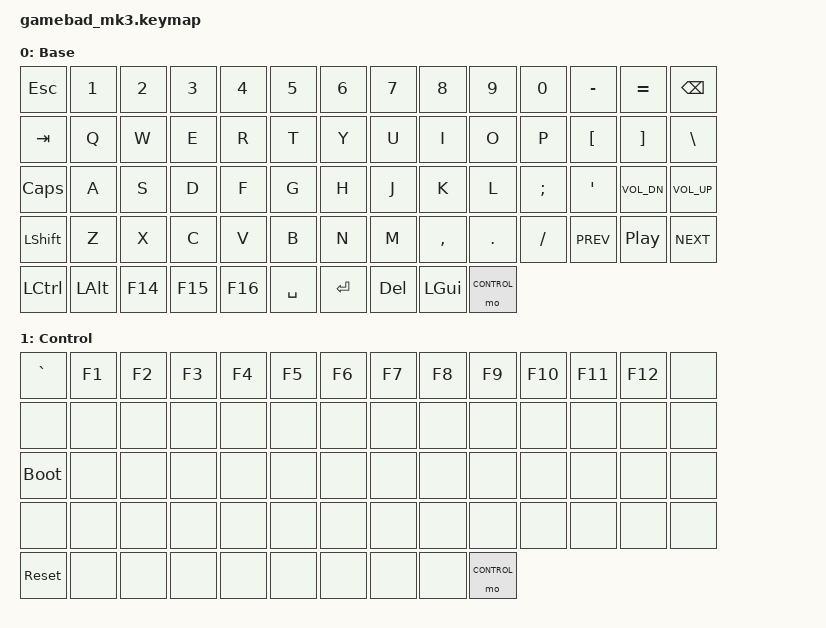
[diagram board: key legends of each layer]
#include <behaviors.dtsi>

#include <dt-bindings/zmk/keys.h>

#include <dt-bindings/zmk/outputs.h>

#define DEFAULT 0
#define CONTROL 1

/ {
  keymap0: keymap {
    compatible = "zmk,keymap";

    default_layer {
      display-name = "Base";
      bindings = <
        &kp ESC    &kp N1    &kp N2   &kp N3   &kp N4   &kp N5     &kp N6     &kp N7   &kp N8     &kp N9      &kp N0    &kp MINUS   &kp EQUAL     &kp BSPC
        &kp TAB    &kp Q     &kp W    &kp E    &kp R    &kp T      &kp Y      &kp U    &kp I      &kp O       &kp P     &kp LBKT    &kp RBKT      &kp BSLH
        &kp CLCK   &kp A     &kp S    &kp D    &kp F    &kp G      &kp H      &kp J    &kp K      &kp L       &kp SCLN  &kp SQT     &kp C_VOL_DN  &kp C_VOL_UP
        &kp LSHFT  &kp Z     &kp X    &kp C    &kp V    &kp B      &kp N      &kp M    &kp COMMA  &kp PERIOD  &kp FSLH  &kp C_PREV  &kp C_PP      &kp C_NEXT
        &kp LCTRL  &kp LALT  &kp F14  &kp F15  &kp F16  &kp SPACE  &kp ENTER  &kp DEL  &kp LGUI   &mo CONTROL
      >;
    };

    control_layer {
      display-name = "Control";
      bindings = <
        &kp GRAVE    &kp F1  &kp F2  &kp F3  &kp F4  &kp F5  &kp F6  &kp F7  &kp F8  &kp F9  &kp F10  &kp F11  &kp F12  &none
        &none        &none   &none   &none   &none   &none   &none   &none   &none   &none   &none    &none    &none    &none
        &bootloader  &none   &none   &none   &none   &none   &none   &none   &none   &none   &none    &none    &none    &none
        &none        &none   &none   &none   &none   &none   &none   &none   &none   &none   &none    &none    &none    &none
        &sys_reset   &none   &none   &none   &none   &none   &none   &none   &none   &mo CONTROL
      >;
    };
  };
};
